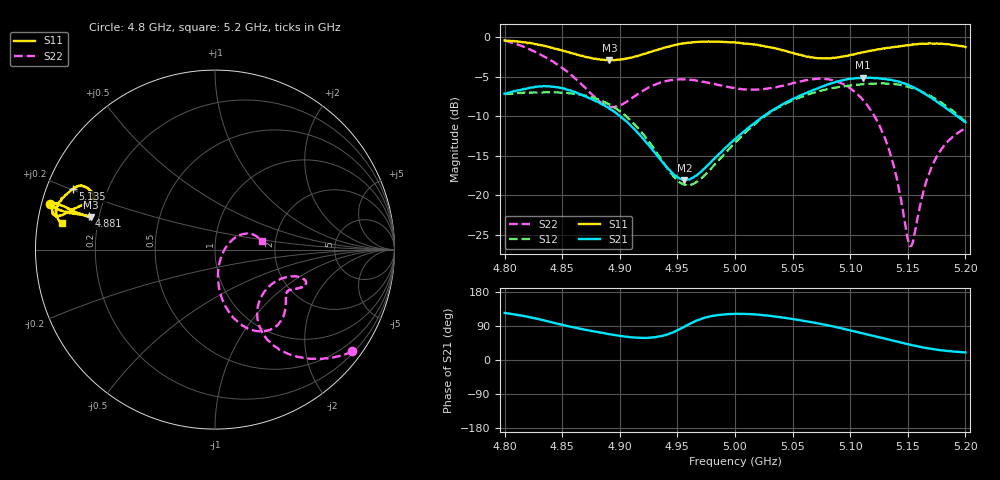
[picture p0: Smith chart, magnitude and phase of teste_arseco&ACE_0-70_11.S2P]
! Network Analyzer HP8722D
! Hewlett-Packard
! Data name: Linha & Wilkinson
! Saver's name: Rodrigo Anjos
! Comments: Teste da utilização de aquisição
! continua pelo VNA HP8722D
! Time and date: 8/5/2025 12:51
!  Frequency  S11  S21  S12  S22
# HZ  S  MA R 50
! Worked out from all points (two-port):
!   401 points, 4.8 GHz to 5.2 GHz, reference 50 ohm
!   highest |S21| = -5.13 dB at 5.111 GHz (marker M1); lowest = -18.1 dB at 4.956 GHz (marker M2)
!   |S21| within 3 dB of the highest: start of sweep to 4.88 GHz; 5.046 GHz to 5.175 GHz (128.7 MHz wide, 2.52 % of centre)
!   lowest |S11| = -2.9 dB at 4.891 GHz (marker M3), VSWR 6.00, Z = 8.47 + j6.31 ohm
!   |S11| at or under -10 dB: nowhere
!   |S22| runs from -26.5 to -0.4 dB; largest |S21 - S12| = 0.71
!   S11 on the Smith chart (normalised r, x): 4.8 GHz: 0.02, +0.14; 4.881 GHz: 0.16, +0.13; 5.135 GHz: 0.08, +0.20; 5.2 GHz: 0.07, +0.09
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4.8e9  0.9537 164.5  0.4397 124.2  0.4357 19.3  0.9518 -36.5
4.834e9  0.8818 165.8  0.4903 104.7  0.448 8.6  0.7561 -52.3
4.867e9  0.7615 165.4  0.4318 81.5  0.431 -5.0  0.5022 -60.0
4.881e9  0.7258 165.2  0.3893 73.8  0.4053 -13.0  0.4004 -53.6
4.891e9  0.7143 165.2  0.353 68.2  0.3748 -19.2  0.3634 -42.3
4.91e9  0.7421 165.4  0.2732 59.9  0.2943 -30.1  0.4093 -23.0
4.934e9  0.8378 164.5  0.1723 61.9  0.1771 -32.5  0.5115 -18.1
4.956e9  0.9142 163.6  0.125 87.8  0.1166 -5.2  0.5408 -21.1
4.97e9  0.9355 164.3  0.1397 107.8  0.1266 18.5  0.5266 -23.4
5e9  0.9258 167.5  0.2263 121.6  0.2151 40.0  0.4751 -27.9
5.035e9  0.8498 165.9  0.3537 114.7  0.3497 35.8  0.4812 -34.9
5.067e9  0.7456 158.7  0.4601 99.7  0.4431 21.9  0.5415 -47.6
5.09e9  0.7474 155.5  0.5258 85.4  0.4832 9.4  0.5197 -61.2
5.111e9  0.8031 154.2  0.5542 70.3  0.5028 -3.0  0.4013 -74.3
5.124e9  0.8386 154.9  0.5511 60.7  0.51 -11.1  0.2891 -81.2
5.134e9  0.8558 156.4  0.5364 53.7  0.5081 -17.9  0.1909 -84.3
5.135e9  0.8597 156.8  0.5379 52.9  0.5081 -18.4  0.1813 -84.2
5.15e9  0.8886 160.4  0.5 41.8  0.4861 -28.8  0.05284 -47.9
5.153e9  0.8934 161.0  0.4878 39.5  0.4791 -30.8  0.04771 -18.2
5.164e9  0.9081 164.0  0.4418 32.8  0.4455 -37.7  0.1087 29.2
5.172e9  0.912 165.7  0.4063 28.7  0.4148 -42.1  0.1581 30.5
5.2e9  0.8673 170.2  0.2893 19.9  0.2929 -52.0  0.2649 10.1
